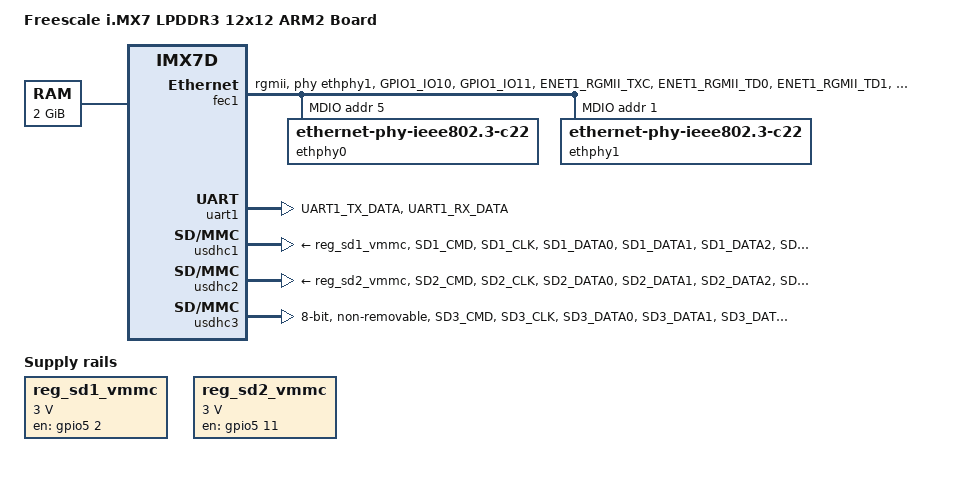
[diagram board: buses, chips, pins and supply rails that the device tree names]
/*
 * Copyright (C) 2015 Freescale Semiconductor, Inc.
 *
 * This program is free software; you can redistribute it and/or modify
 * it under the terms of the GNU General Public License version 2 as
 * published by the Free Software Foundation.
 */

/dts-v1/;

#include "imx7d.dtsi"

/ {
	model = "Freescale i.MX7 LPDDR3 12x12 ARM2 Board";
	compatible = "fsl,imx7d-12x12-arm2", "fsl,imx7d";

	regulators {
		compatible = "simple-bus";

		reg_sd1_vmmc: sd1_vmmc{
			compatible = "regulator-fixed";
			regulator-name = "VCC_SD1";
			regulator-min-microvolt = <3000000>;
			regulator-max-microvolt = <3000000>;
			gpio = <&gpio5 2 GPIO_ACTIVE_HIGH>;
			enable-active-high;
		};

		reg_sd2_vmmc: sd2_vmmc{
			compatible = "regulator-fixed";
			regulator-name = "VCC_SD2";
			regulator-min-microvolt = <3000000>;
			regulator-max-microvolt = <3000000>;
			gpio = <&gpio5 11 GPIO_ACTIVE_HIGH>;
			enable-active-high;
		};
	};

	memory {
		reg = <0x80000000 0x80000000>;
	};
};

&fec1 {
	pinctrl-names = "default";
	pinctrl-0 = <&pinctrl_enet1>;
	phy-mode = "rgmii";
	phy-handle = <&ethphy1>;
	fsl,magic-packet;
	status = "okay";

	mdio {
		#address-cells = <1>;
		#size-cells = <0>;

		ethphy0: ethernet-phy@5 {
			compatible = "ethernet-phy-ieee802.3-c22";
			reg = <5>;
		};

		ethphy1: ethernet-phy@1 {
			compatible = "ethernet-phy-ieee802.3-c22";
			reg = <1>;
		};
	};
};

&fec2 {
	pinctrl-names = "default";
	pinctrl-0 = <&pinctrl_enet2>;
	pinctrl-assert-gpios = <&max7322 0 GPIO_ACTIVE_HIGH>;
	phy-mode = "rgmii";
	phy-handle = <&ethphy0>;
	fsl,magic-packet;
	status = "disabled";
};

&iomuxc {
	pinctrl-names = "default";
	pinctrl-0 = <&pinctrl_hog_1>;

	hog {
		pinctrl_hog_1: hoggrp-1 {
			fsl,pins = <
				MX7D_PAD_I2C4_SCL__GPIO4_IO14	0x80000000
				MX7D_PAD_EPDC_PWR_STAT__GPIO2_IO31 0x80000000
				MX7D_PAD_ECSPI2_SCLK__GPIO4_IO20  0x80000000
				MX7D_PAD_ECSPI2_MOSI__GPIO4_IO21  0x80000000
				MX7D_PAD_ECSPI2_MISO__GPIO4_IO22  0x80000000
				MX7D_PAD_ECSPI2_SS0__GPIO4_IO23	  0x80000000
				MX7D_PAD_ECSPI1_MOSI__GPIO4_IO17  0x80000000
				MX7D_PAD_SD1_RESET_B__GPIO5_IO2   0x17059
				MX7D_PAD_SD1_CD_B__GPIO5_IO0      0x17059
				MX7D_PAD_SD1_WP__GPIO5_IO1        0x17059
				MX7D_PAD_SD2_CD_B__GPIO5_IO9      0x17059
				MX7D_PAD_SD2_WP__GPIO5_IO10       0x17059
				MX7D_PAD_SD2_RESET_B__GPIO5_IO11  0x17059
				MX7D_PAD_GPIO1_IO12__SD2_VSELECT  0x17059
			>;
		};
	};
};

&uart1 {
	pinctrl-names = "default";
	pinctrl-0 = <&pinctrl_uart1_1>;
	status = "okay";
};

&usdhc1 {
	pinctrl-names = "default";
	pinctrl-0 = <&pinctrl_usdhc1_1>;
	cd-gpios = <&gpio5 0 0>;
	wp-gpios = <&gpio5 1 0>;
	no-1-8-v;
	keep-power-in-suspend;
	enable-sdio-wakeup;
	vmmc-supply = <&reg_sd1_vmmc>;
	status = "okay";
};

&usdhc2 {
	pinctrl-names = "default", "state_100mhz", "state_200mhz";
	pinctrl-0 = <&pinctrl_usdhc2_1>;
	pinctrl-1 = <&pinctrl_usdhc2_1_100mhz>;
	pinctrl-2 = <&pinctrl_usdhc2_1_200mhz>;
	cd-gpios = <&gpio5 9 0>;
	wp-gpios = <&gpio5 10 0>;
	keep-power-in-suspend;
	enable-sdio-wakeup;
	vmmc-supply = <&reg_sd2_vmmc>;
	status = "okay";
};

&usdhc3 {
	pinctrl-names = "default";
	pinctrl-0 = <&pinctrl_usdhc3_1>;
	bus-width = <8>;
	non-removable;
	keep-power-in-suspend;
	status = "okay";
};

&iomuxc {

	enet1 {
		pinctrl_enet1: enet1grp {
			fsl,pins = <
				MX7D_PAD_GPIO1_IO10__ENET1_MDIO			0x3
				MX7D_PAD_GPIO1_IO11__ENET1_MDC			0x3
				MX7D_PAD_ENET1_RGMII_TXC__ENET1_RGMII_TXC	0x1
				MX7D_PAD_ENET1_RGMII_TD0__ENET1_RGMII_TD0	0x1
				MX7D_PAD_ENET1_RGMII_TD1__ENET1_RGMII_TD1	0x1
				MX7D_PAD_ENET1_RGMII_TD2__ENET1_RGMII_TD2	0x1
				MX7D_PAD_ENET1_RGMII_TD3__ENET1_RGMII_TD3	0x1
				MX7D_PAD_ENET1_RGMII_TX_CTL__ENET1_RGMII_TX_CTL	0x1
				MX7D_PAD_ENET1_RGMII_RXC__ENET1_RGMII_RXC	0x1
				MX7D_PAD_ENET1_RGMII_RD0__ENET1_RGMII_RD0	0x1
				MX7D_PAD_ENET1_RGMII_RD1__ENET1_RGMII_RD1	0x1
				MX7D_PAD_ENET1_RGMII_RD2__ENET1_RGMII_RD2	0x1
				MX7D_PAD_ENET1_RGMII_RD3__ENET1_RGMII_RD3	0x1
				MX7D_PAD_ENET1_RGMII_RX_CTL__ENET1_RGMII_RX_CTL	0x1
			>;
		};

	};

	enet2 {
		pinctrl_enet2: enet2grp {
			fsl,pins = <
				MX7D_PAD_EPDC_GDSP__ENET2_RGMII_TXC     0x1
				MX7D_PAD_EPDC_SDCE2__ENET2_RGMII_TD0    0x1
				MX7D_PAD_EPDC_SDCE3__ENET2_RGMII_TD1    0x1
				MX7D_PAD_EPDC_GDCLK__ENET2_RGMII_TD2    0x1
				MX7D_PAD_EPDC_GDOE__ENET2_RGMII_TD3     0x1
				MX7D_PAD_EPDC_GDRL__ENET2_RGMII_TX_CTL  0x1
				MX7D_PAD_EPDC_SDCE1__ENET2_RGMII_RXC    0x1
				MX7D_PAD_EPDC_SDCLK__ENET2_RGMII_RD0    0x1
				MX7D_PAD_EPDC_SDLE__ENET2_RGMII_RD1     0x1
				MX7D_PAD_EPDC_SDOE__ENET2_RGMII_RD2     0x1
				MX7D_PAD_EPDC_SDSHR__ENET2_RGMII_RD3    0x1
				MX7D_PAD_EPDC_SDCE0__ENET2_RGMII_RX_CTL 0x1
			>;
		};
	};

	epdc {
                pinctrl_epdc_0: epdcgrp-0 {
                        fsl,pins = <
				MX7D_PAD_EPDC_DATA00__EPDC_DATA0 0x80000000
				MX7D_PAD_EPDC_DATA01__EPDC_DATA1 0x80000000
				MX7D_PAD_EPDC_DATA02__EPDC_DATA2 0x80000000
				MX7D_PAD_EPDC_DATA03__EPDC_DATA3 0x80000000
				MX7D_PAD_EPDC_DATA04__EPDC_DATA4 0x80000000
				MX7D_PAD_EPDC_DATA05__EPDC_DATA5 0x80000000
				MX7D_PAD_EPDC_DATA06__EPDC_DATA6 0x80000000
				MX7D_PAD_EPDC_DATA07__EPDC_DATA7 0x80000000
				MX7D_PAD_EPDC_DATA08__EPDC_DATA8 0x80000000
				MX7D_PAD_EPDC_DATA09__EPDC_DATA9 0x80000000
				MX7D_PAD_EPDC_DATA10__EPDC_DATA10 0x80000000
				MX7D_PAD_EPDC_DATA11__EPDC_DATA11 0x80000000
				MX7D_PAD_EPDC_DATA12__EPDC_DATA12 0x80000000
				MX7D_PAD_EPDC_DATA13__EPDC_DATA13 0x80000000
				MX7D_PAD_EPDC_DATA14__EPDC_DATA14 0x80000000
				MX7D_PAD_EPDC_DATA15__EPDC_DATA15 0x80000000
				MX7D_PAD_EPDC_SDCLK__EPDC_SDCLK 0x80000000
				MX7D_PAD_EPDC_SDLE__EPDC_SDLE 0x80000000
				MX7D_PAD_EPDC_SDOE__EPDC_SDOE 0x80000000
				MX7D_PAD_EPDC_SDSHR__EPDC_SDSHR 0x80000000
				MX7D_PAD_EPDC_SDCE0__EPDC_SDCE0 0x80000000
				MX7D_PAD_EPDC_SDCE1__EPDC_SDCE1 0x80000000
				MX7D_PAD_EPDC_SDCE2__EPDC_SDCE2 0x80000000
				MX7D_PAD_EPDC_SDCE3__EPDC_SDCE3 0x80000000
				MX7D_PAD_EPDC_GDCLK__EPDC_GDCLK 0x80000000
				MX7D_PAD_EPDC_GDOE__EPDC_GDOE 0x80000000
				MX7D_PAD_EPDC_GDRL__EPDC_GDRL 0x80000000
				MX7D_PAD_EPDC_GDSP__EPDC_GDSP 0x80000000
				MX7D_PAD_EPDC_BDR0__EPDC_BDR0 0x80000000
				MX7D_PAD_EPDC_BDR1__EPDC_BDR1 0x80000000
                        >;
                };
	};

	i2c1 {
		pinctrl_i2c1_1: i2c1grp-1 {
			fsl,pins = <
				MX7D_PAD_I2C1_SDA__I2C1_SDA          0x4001b8b1
				MX7D_PAD_I2C1_SCL__I2C1_SCL          0x4001b8b1
			>;
		};

	};

	i2c2 {
		pinctrl_i2c2_1: i2c2grp-1 {
			fsl,pins = <
				MX7D_PAD_I2C2_SDA__I2C2_SDA          0x4001b8b1
				MX7D_PAD_I2C2_SCL__I2C2_SCL          0x4001b8b1
			>;
		};
	};

	i2c3 {
		pinctrl_i2c3_1: i2c3grp-1 {
			fsl,pins = <
				MX7D_PAD_I2C3_SDA__I2C3_SDA        0x4001b8b1
				MX7D_PAD_I2C3_SCL__I2C3_SCL            0x4001b8b1
			>;
		};

	};

	i2c4 {
		pinctrl_i2c4_1: i2c4grp-1 {
			fsl,pins = <
				MX7D_PAD_I2C4_SDA__I2C4_SDA          0x4001b8b1
				MX7D_PAD_I2C4_SCL__I2C4_SCL          0x4001b8b1
			>;
		};
	};

	uart1 {
		pinctrl_uart1_1: uart1grp-1 {
			fsl,pins = <
				MX7D_PAD_UART1_TX_DATA__UART1_DCE_TX 0x79
				MX7D_PAD_UART1_RX_DATA__UART1_DCE_RX 0x79
			>;
		};

	};

	usdhc1 {
		pinctrl_usdhc1_1: usdhc1grp-1 {
			fsl,pins = <
				MX7D_PAD_SD1_CMD__SD1_CMD     0x17059
				MX7D_PAD_SD1_CLK__SD1_CLK     0x10059
				MX7D_PAD_SD1_DATA0__SD1_DATA0	0x17059
				MX7D_PAD_SD1_DATA1__SD1_DATA1	0x17059
				MX7D_PAD_SD1_DATA2__SD1_DATA2	0x17059
				MX7D_PAD_SD1_DATA3__SD1_DATA3	0x17059
			>;
		};
	};

	usdhc2 {
		pinctrl_usdhc2_1: usdhc2grp-1 {
			fsl,pins = <
				MX7D_PAD_SD2_CMD__SD2_CMD     0x17059
				MX7D_PAD_SD2_CLK__SD2_CLK     0x10059
				MX7D_PAD_SD2_DATA0__SD2_DATA0 0x17059
				MX7D_PAD_SD2_DATA1__SD2_DATA1 0x17059
				MX7D_PAD_SD2_DATA2__SD2_DATA2 0x17059
				MX7D_PAD_SD2_DATA3__SD2_DATA3 0x17059
			>;
		};

		pinctrl_usdhc2_1_100mhz: usdhc2grp-1_100mhz {
			fsl,pins = <
				MX7D_PAD_SD2_CMD__SD2_CMD     0x170b9
				MX7D_PAD_SD2_CLK__SD2_CLK     0x100b9
				MX7D_PAD_SD2_DATA0__SD2_DATA0 0x170b9
				MX7D_PAD_SD2_DATA1__SD2_DATA1 0x170b9
				MX7D_PAD_SD2_DATA2__SD2_DATA2 0x170b9
				MX7D_PAD_SD2_DATA3__SD2_DATA3 0x170b9
			>;
		};

		pinctrl_usdhc2_1_200mhz: usdhc2grp-1_200mhz {
			fsl,pins = <
				MX7D_PAD_SD2_CMD__SD2_CMD     0x170f9
				MX7D_PAD_SD2_CLK__SD2_CLK     0x100f9
				MX7D_PAD_SD2_DATA0__SD2_DATA0 0x170f9
				MX7D_PAD_SD2_DATA1__SD2_DATA1 0x170f9
				MX7D_PAD_SD2_DATA2__SD2_DATA2 0x170f9
				MX7D_PAD_SD2_DATA3__SD2_DATA3 0x170f9
			>;
		};
	};

	usdhc3 {
		pinctrl_usdhc3_1: usdhc3grp-1 {
			fsl,pins = <
				MX7D_PAD_SD3_CMD__SD3_CMD	  0x17059
				MX7D_PAD_SD3_CLK__SD3_CLK	  0x10059
				MX7D_PAD_SD3_DATA0__SD3_DATA0 0x17059
				MX7D_PAD_SD3_DATA1__SD3_DATA1 0x17059
				MX7D_PAD_SD3_DATA2__SD3_DATA2 0x17059
				MX7D_PAD_SD3_DATA3__SD3_DATA3 0x17059
				MX7D_PAD_SD3_DATA4__SD3_DATA4 0x17059
				MX7D_PAD_SD3_DATA5__SD3_DATA5 0x17059
				MX7D_PAD_SD3_DATA6__SD3_DATA6 0x17059
				MX7D_PAD_SD3_DATA7__SD3_DATA7 0x17059
			>;
		};
	};

};

&i2c3 {
	clock-frequency = <100000>;
	pinctrl-names = "default";
	pinctrl-0 = <&pinctrl_i2c3_1>;
	status = "disabled";

	max7322: gpio@68 {
		compatible = "maxim,max7322";
		reg = <0x68>;
		gpio-controller;
		#gpio-cells = <2>;
	};

	max17135@48 {
		compatible = "maxim,max17135";
		reg = <0x48>;
		vneg_pwrup = <1>;
		gvee_pwrup = <2>;
		vpos_pwrup = <10>;
		gvdd_pwrup = <12>;
		gvdd_pwrdn = <1>;
		vpos_pwrdn = <2>;
		gvee_pwrdn = <8>;
		vneg_pwrdn = <10>;
		gpio_pmic_pwrgood = <&gpio2 13 0>;
		gpio_pmic_vcom_ctrl = <&gpio2 3 0>;
		gpio_pmic_wakeup = <&gpio2 14 0>;
		gpio_pmic_v3p3 = <&gpio2 7 0>;
		gpio_pmic_intr = <&gpio2 12 0>;

		regulators {
			DISPLAY_reg: DISPLAY {
				regulator-name = "DISPLAY";
			};

			GVDD_reg: GVDD {
				/* 20v */
				regulator-name = "GVDD";
			};

			GVEE_reg: GVEE {
				/* -22v */
				regulator-name = "GVEE";
			};

			HVINN_reg: HVINN {
				/* -22v */
				regulator-name = "HVINN";
			};

			HVINP_reg: HVINP {
				/* 20v */
				regulator-name = "HVINP";
			};

			VCOM_reg: VCOM {
				regulator-name = "VCOM";
				/* 2's-compliment, -4325000 */
				regulator-min-microvolt = <0xffbe0178>;
				/* 2's-compliment, -500000 */
				regulator-max-microvolt = <0xfff85ee0>;
			};

			VNEG_reg: VNEG {
				/* -15v */
				regulator-name = "VNEG";
			};

			VPOS_reg: VPOS {
				/* 15v */
				regulator-name = "VPOS";
			};

			V3P3_reg: V3P3 {
				regulator-name = "V3P3";
			};
		};
	};
};
